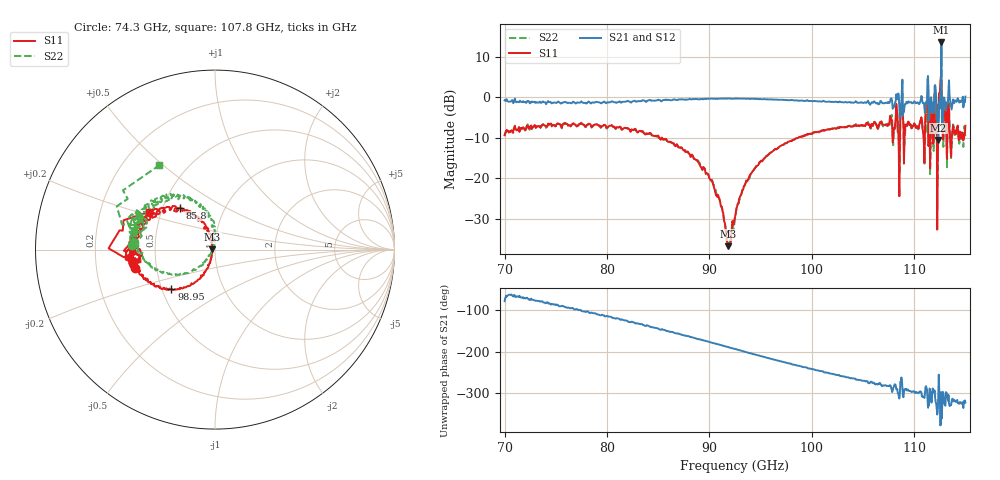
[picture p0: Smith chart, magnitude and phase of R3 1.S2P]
! Python used to change reference impedance from 50 to 1.
# Hz S RI R 1
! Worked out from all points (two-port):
!   901 points, 70 GHz to 115 GHz, reference 1 ohm
!   highest |S21| = 13.61 dB at 112.7 GHz (marker M1); lowest = -10.5 dB at 112.3 GHz (marker M2)
!   |S21| within 3 dB of the highest: 112.6404 GHz to 112.658 GHz (17.55 MHz wide, 0.0156 % of centre)
!   lowest |S11| = -36.7 dB at 91.85 GHz (marker M3), VSWR 1.03, Z = 0.972 + j0.00522 ohm
!   |S11| at or under -10 dB: 85.10164 GHz to 85.31912 GHz (217.5 MHz wide, 0.255 % of centre); 85.38 GHz to 98.65 GHz (13.27 GHz wide, 14.4 % of centre); 108.4637 GHz to 108.6093 GHz (145.6 MHz wide, 0.134 % of centre)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
!   |S22| runs from -36.6 to 14.1 dB; largest |S21 - S12| = 1.5
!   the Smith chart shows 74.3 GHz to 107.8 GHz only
!   S11 on the Smith chart (normalised r, x): 74.3 GHz: 0.38, -0.10; 85.8 GHz: 0.61, +0.32; 98.95 GHz: 0.56, -0.28; 107.8 GHz: 0.43, +0.22
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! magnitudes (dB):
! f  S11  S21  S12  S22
! 70 GHz  -9.4  -0.7  -0.7  -9.4
! 74.3 GHz  -6.8  -1.1  -1.1  -6.7
! 77.5 GHz  -6.4  -1.0  -1.0  -6.2
! 85 GHz  -9.4  -0.6  -0.6  -9.6
! 85.8 GHz  -10.3  -0.6  -0.6  -10.5
! 90.1 GHz  -20.4  -0.3  -0.3  -20.3
! 91.85 GHz  -36.7  -0.2  -0.2  -36.2
! 92.5 GHz  -29.6  -0.3  -0.3  -29.7
! 94.45 GHz  -17.5  -0.4  -0.4  -17.4
! 98.95 GHz  -9.7  -0.8  -0.8  -9.7
! 100 GHz  -8.9  -0.9  -0.9  -9.0
! 107.5 GHz  -6.7  -1.3  -1.3  -6.8
! 107.8 GHz  -7.5  -1.1  -1.1  -5.0
! 110.8 GHz  -8.3  -1.4  -1.4  -7.7
! 111.3 GHz  -1.3  4.5  4.5  -9.0
! 111.8 GHz  -2.7  -3.8  -3.9  -2.7
! 111.9 GHz  -11.2  -1.6  -1.6  -13.2
! 112.3 GHz  -8.8  -10.5  -10.5  -6.0
! 112.7 GHz  4.2  13.6  13.6  14.1
! 113 GHz  -2.7  -1.2  -1.2  -4.2
! 113.7 GHz  -10.9  -3.0  -3.0  -12.0
! 115 GHz  -7.0  0.2  0.2  -9.5
